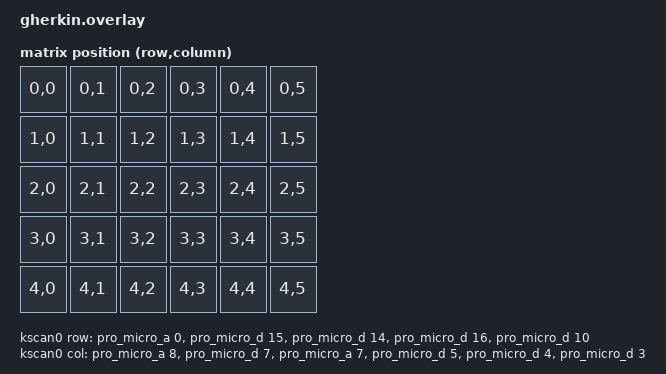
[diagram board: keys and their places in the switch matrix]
/*
 * Copyright (c) 2020 The ZMK Contributors
 *
 * SPDX-License-Identifier: MIT
 */

#include <dt-bindings/zmk/matrix-transform.h>

/ {
    chosen {
        zmk,kscan = &kscan0;
        zmk,matrix_transform = &default_transform;
    };

    default_transform: keymap_transform_0 {
        compatible = "zmk,matrix-transform";
        columns = <6>;
        rows = <5>;
        map = <
    RC(0,0) RC(0,1) RC(0,2) RC(0,3) RC(0,4) RC(0,5) 
    RC(1,0) RC(1,1) RC(1,2) RC(1,3) RC(1,4) RC(1,5) 
    RC(2,0) RC(2,1) RC(2,2) RC(2,3) RC(2,4)  RC(2,5) 
    RC(3,0) RC(3,1) RC(3,2) RC(3,3) RC(3,4) RC(3,5) 
    RC(4,0) RC(4,1) RC(4,2)  RC(4,3) RC(4,4) RC(4,5)

        >;
    };


    kscan0: kscan_0 {
        compatible = "zmk,kscan-gpio-matrix";
        label = "KSCAN";
        diode-direction = "col2row";


     col-gpios
            = <&pro_micro_a 8  GPIO_ACTIVE_HIGH>
            , <&pro_micro_d 7  GPIO_ACTIVE_HIGH>
            , <&pro_micro_a 7  GPIO_ACTIVE_HIGH>
            , <&pro_micro_d 5  GPIO_ACTIVE_HIGH>
            , <&pro_micro_d 4  GPIO_ACTIVE_HIGH>
            , <&pro_micro_d 3  GPIO_ACTIVE_HIGH>
            ;

        row-gpios
            = <&pro_micro_a  0 (GPIO_ACTIVE_HIGH | GPIO_PULL_DOWN)>
            , <&pro_micro_d 15 (GPIO_ACTIVE_HIGH | GPIO_PULL_DOWN)>
            , <&pro_micro_d 14 (GPIO_ACTIVE_HIGH | GPIO_PULL_DOWN)>
            , <&pro_micro_d 16 (GPIO_ACTIVE_HIGH | GPIO_PULL_DOWN)>
            , <&pro_micro_d 10  (GPIO_ACTIVE_HIGH | GPIO_PULL_DOWN)>
            ;
    };
    
};
